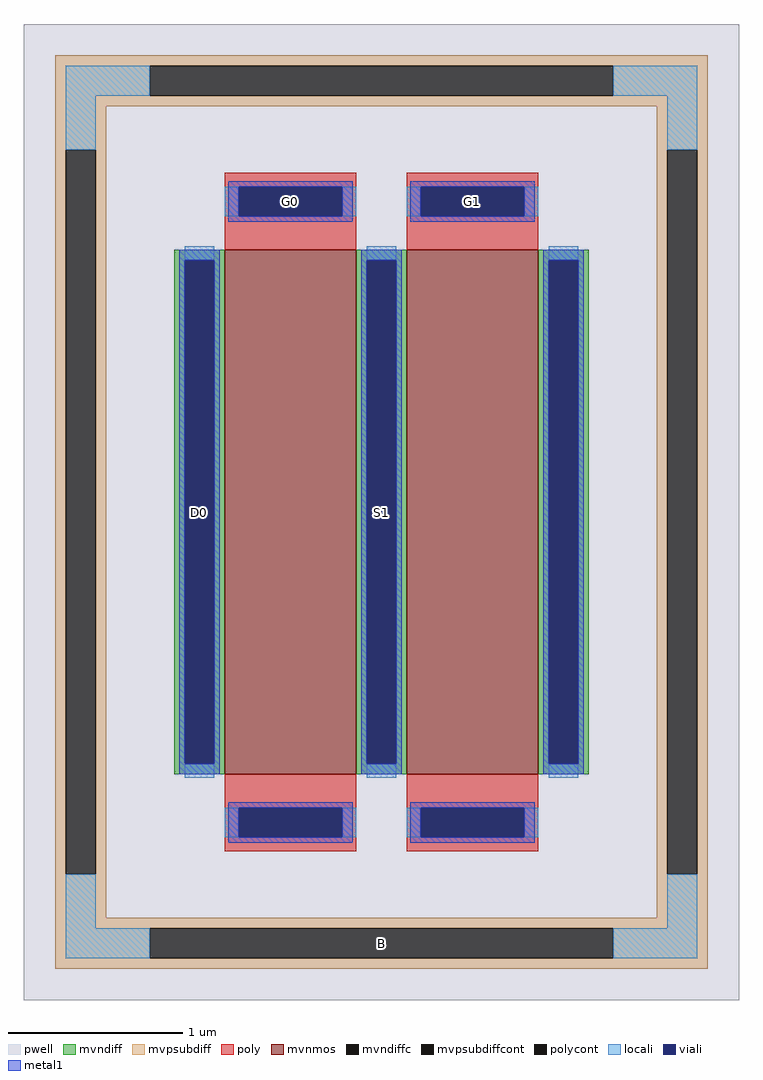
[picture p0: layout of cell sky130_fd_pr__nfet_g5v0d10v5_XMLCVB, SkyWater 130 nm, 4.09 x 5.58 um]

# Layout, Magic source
magic
tech sky130A
magscale 1 2
<< pwell >>
rect -409 -558 409 558
<< mvnmos >>
rect -179 -300 -29 300
rect 29 -300 179 300
<< mvndiff >>
rect -237 288 -179 300
rect -237 -288 -225 288
rect -191 -288 -179 288
rect -237 -300 -179 -288
rect -29 288 29 300
rect -29 -288 -17 288
rect 17 -288 29 288
rect -29 -300 29 -288
rect 179 288 237 300
rect 179 -288 191 288
rect 225 -288 237 288
rect 179 -300 237 -288
<< mvndiffc >>
rect -225 -288 -191 288
rect -17 -288 17 288
rect 191 -288 225 288
<< mvpsubdiff >>
rect -373 510 373 522
rect -373 476 -265 510
rect 265 476 373 510
rect -373 464 373 476
rect -373 414 -315 464
rect -373 -414 -361 414
rect -327 -414 -315 414
rect 315 414 373 464
rect -373 -464 -315 -414
rect 315 -414 327 414
rect 361 -414 373 414
rect 315 -464 373 -414
rect -373 -476 373 -464
rect -373 -510 -265 -476
rect 265 -510 373 -476
rect -373 -522 373 -510
<< mvpsubdiffcont >>
rect -265 476 265 510
rect -361 -414 -327 414
rect 327 -414 361 414
rect -265 -510 265 -476
<< poly >>
rect -179 372 -29 388
rect -179 338 -163 372
rect -45 338 -29 372
rect -179 300 -29 338
rect 29 372 179 388
rect 29 338 45 372
rect 163 338 179 372
rect 29 300 179 338
rect -179 -338 -29 -300
rect -179 -372 -163 -338
rect -45 -372 -29 -338
rect -179 -388 -29 -372
rect 29 -338 179 -300
rect 29 -372 45 -338
rect 163 -372 179 -338
rect 29 -388 179 -372
<< polycont >>
rect -163 338 -45 372
rect 45 338 163 372
rect -163 -372 -45 -338
rect 45 -372 163 -338
<< locali >>
rect -361 476 -265 510
rect 265 476 361 510
rect -361 414 -327 476
rect 327 414 361 476
rect -179 338 -163 372
rect -45 338 -29 372
rect 29 338 45 372
rect 163 338 179 372
rect -225 288 -191 304
rect -225 -304 -191 -288
rect -17 288 17 304
rect -17 -304 17 -288
rect 191 288 225 304
rect 191 -304 225 -288
rect -179 -372 -163 -338
rect -45 -372 -29 -338
rect 29 -372 45 -338
rect 163 -372 179 -338
rect -361 -476 -327 -414
rect 327 -476 361 -414
rect -361 -510 -265 -476
rect 265 -510 361 -476
<< viali >>
rect -163 338 -45 372
rect 45 338 163 372
rect -225 -288 -191 288
rect -17 -288 17 288
rect 191 -288 225 288
rect -163 -372 -45 -338
rect 45 -372 163 -338
<< metal1 >>
rect -175 372 -33 378
rect -175 338 -163 372
rect -45 338 -33 372
rect -175 332 -33 338
rect 33 372 175 378
rect 33 338 45 372
rect 163 338 175 372
rect 33 332 175 338
rect -231 288 -185 300
rect -231 -288 -225 288
rect -191 -288 -185 288
rect -231 -300 -185 -288
rect -23 288 23 300
rect -23 -288 -17 288
rect 17 -288 23 288
rect -23 -300 23 -288
rect 185 288 231 300
rect 185 -288 191 288
rect 225 -288 231 288
rect 185 -300 231 -288
rect -175 -338 -33 -332
rect -175 -372 -163 -338
rect -45 -372 -33 -338
rect -175 -378 -33 -372
rect 33 -338 175 -332
rect 33 -372 45 -338
rect 163 -372 175 -338
rect 33 -378 175 -372
<< labels >>
rlabel mvpsubdiffcont 0 -493 0 -493 0 B
port 41 nsew
rlabel mvndiffc -208 0 -208 0 0 D0
port 42 nsew
rlabel polycont -104 355 -104 355 0 G0
port 43 nsew
rlabel mvndiffc 0 0 0 0 0 S1
port 44 nsew
rlabel polycont 104 355 104 355 0 G1
port 45 nsew
<< properties >>
string FIXED_BBOX -344 -493 344 493
string gencell sky130_fd_pr__nfet_g5v0d10v5
string library sky130
string parameters w 3.0 l 0.75 m 1 nf 2 diffcov 100 polycov 100 guard 1 glc 1 grc 1 gtc 1 gbc 1 tbcov 100 rlcov 100 topc 1 botc 1 poverlap 0 doverlap 1 lmin 0.50 wmin 0.42 class mosfet compatible {sky130_fd_pr__nfet_01v8 sky130_fd_pr__nfet_01v8_lvt  sky130_fd_bs_flash__special_sonosfet_star  sky130_fd_pr__nfet_g5v0d10v5 sky130_fd_pr__nfet_05v0_nvt  sky130_fd_pr__nfet_03v3_nvt} full_metal 1 conn_gates 0 viasrc 100 viadrn 100 viagate 100 viagb 0 viagr 0 viagl 0 viagt 0 doports 1
<< end >>
